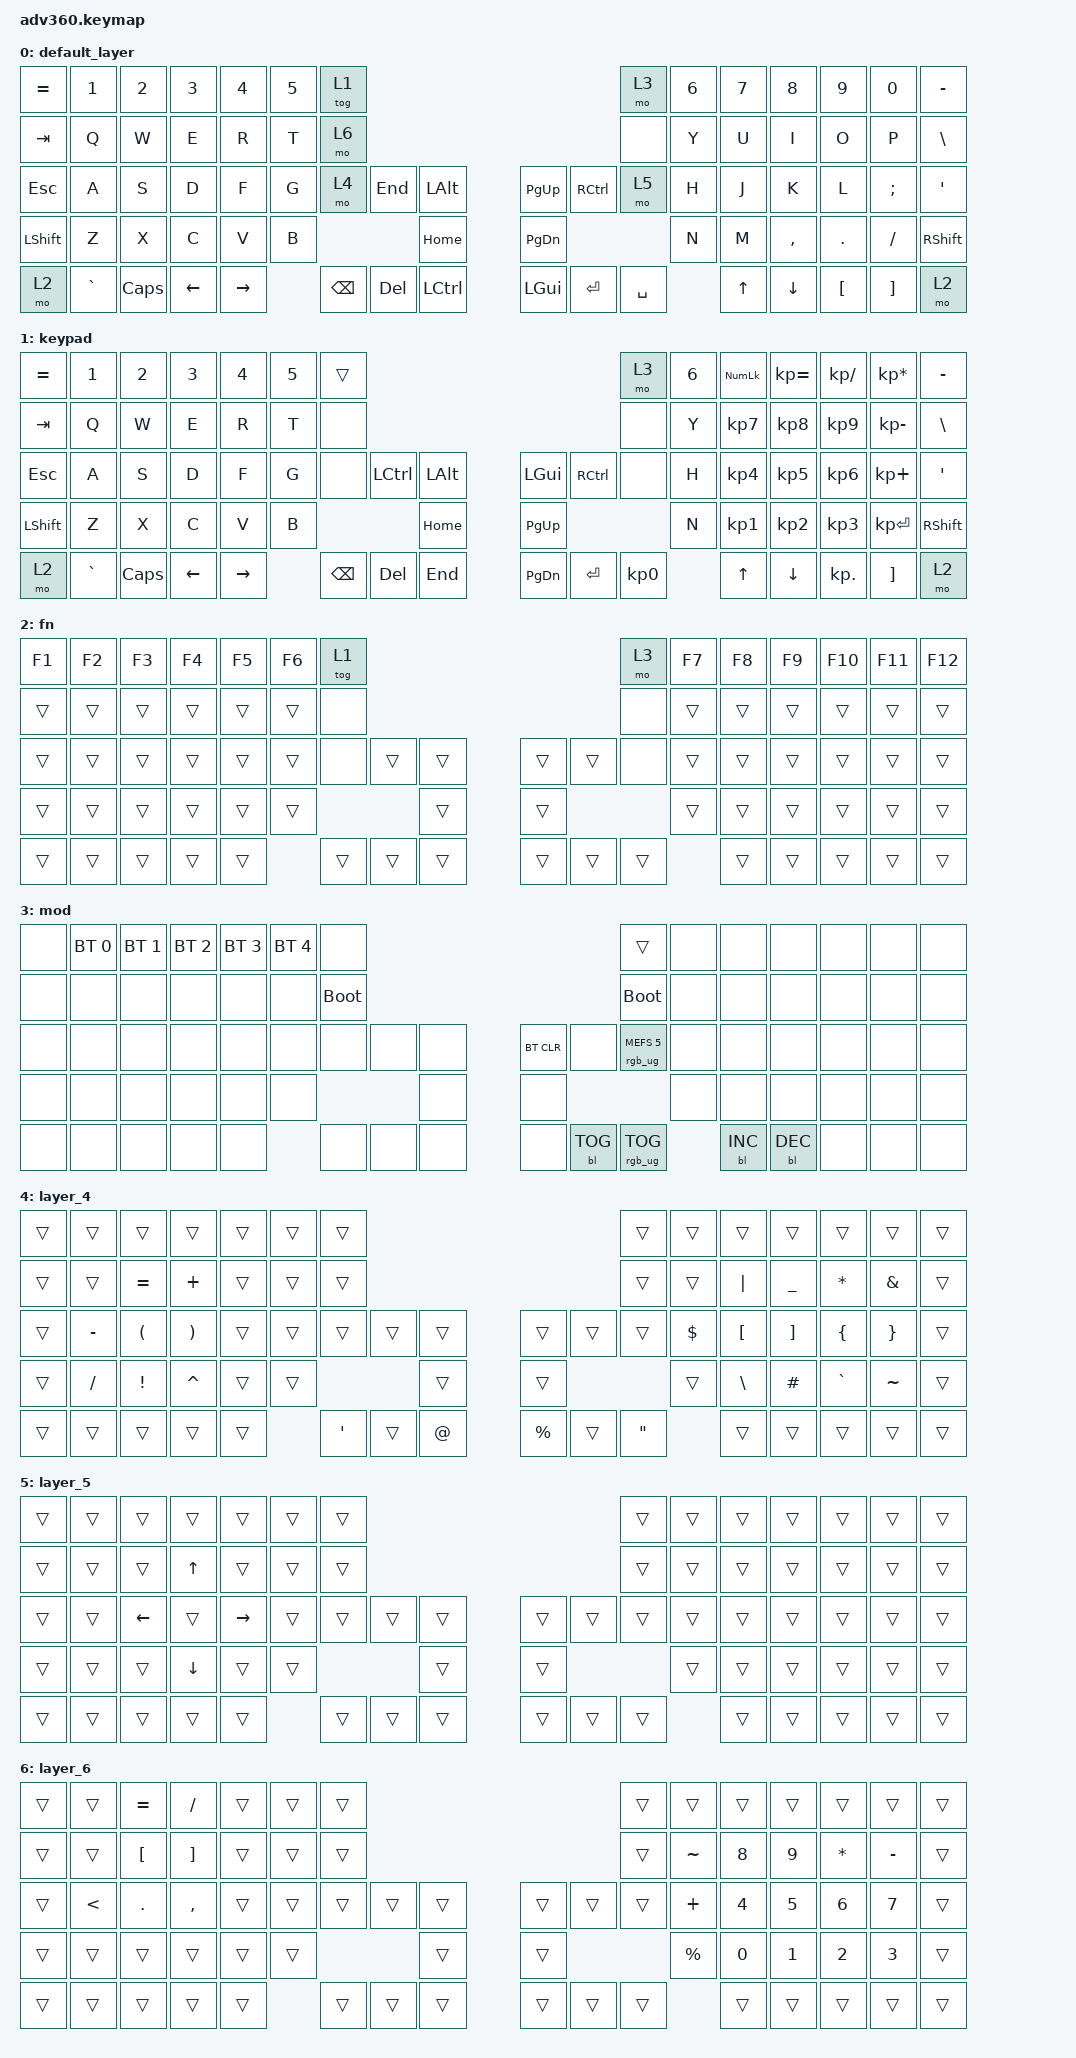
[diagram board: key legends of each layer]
#include <behaviors.dtsi>
#include <dt-bindings/zmk/backlight.h>
#include <dt-bindings/zmk/bt.h>
#include <dt-bindings/zmk/keys.h>
#include <dt-bindings/zmk/rgb.h>

/ {
    behaviors {
        #include "macros.dtsi"

        hm: homerow_mods {
            compatible = "zmk,behavior-hold-tap";
            label = "HOMEROW_MODS";
            #binding-cells = <2>;
            tapping-term-ms = <200>;
            quick_tap_ms = <175>;
            flavor = "tap-preferred";
            bindings = <&kp>, <&kp>;
        };
    };

    keymap {
        compatible = "zmk,keymap";

        default_layer {
            bindings = <
&kp EQUAL  &kp N1     &kp N2    &kp N3    &kp N4     &kp N5  &tog 1                                                             &mo 3      &kp N6  &kp N7  &kp N8     &kp N9    &kp N0    &kp MINUS
&kp TAB    &kp Q      &kp W     &kp E     &kp R      &kp T   &mo 6                                                              &none      &kp Y   &kp U   &kp I      &kp O     &kp P     &kp BSLH
&kp ESC    &kp A      &kp S     &kp D     &kp F      &kp G   &mo 4     &kp END  &kp LALT              &kp PAGE_UP    &kp RCTRL  &mo 5      &kp H   &kp J   &kp K      &kp L     &kp SEMI  &kp SQT
&kp LSHFT  &kp Z      &kp X     &kp C     &kp V      &kp B                      &kp HOME              &kp PAGE_DOWN                        &kp N   &kp M   &kp COMMA  &kp DOT   &kp FSLH  &kp RSHFT
&mo 2      &kp GRAVE  &kp CAPS  &kp LEFT  &kp RIGHT          &kp BSPC  &kp DEL  &kp LEFT_CONTROL      &kp LEFT_GUI   &kp ENTER  &kp SPACE          &kp UP  &kp DOWN   &kp LBKT  &kp RBKT  &mo 2
            >;
        };

        keypad {
            bindings = <
&kp EQUAL  &kp N1     &kp N2    &kp N3    &kp N4     &kp N5  &trans                                                   &mo 3      &kp N6  &kp KP_NUM  &kp KP_EQUAL  &kp KP_DIVIDE  &kp KP_MULTIPLY  &kp MINUS
&kp TAB    &kp Q      &kp W     &kp E     &kp R      &kp T   &none                                                    &none      &kp Y   &kp KP_N7   &kp KP_N8     &kp KP_N9      &kp KP_MINUS     &kp BSLH
&kp ESC    &kp A      &kp S     &kp D     &kp F      &kp G   &none     &kp LCTRL  &kp LALT      &kp LGUI   &kp RCTRL  &none      &kp H   &kp KP_N4   &kp KP_N5     &kp KP_N6      &kp KP_PLUS      &kp SQT
&kp LSHFT  &kp Z      &kp X     &kp C     &kp V      &kp B                        &kp HOME      &kp PG_UP                        &kp N   &kp KP_N1   &kp KP_N2     &kp KP_N3      &kp KP_ENTER     &kp RSHFT
&mo 2      &kp GRAVE  &kp CAPS  &kp LEFT  &kp RIGHT          &kp BSPC  &kp DEL    &kp END       &kp PG_DN  &kp ENTER  &kp KP_N0          &kp UP      &kp DOWN      &kp KP_DOT     &kp RBKT         &mo 2
            >;
        };

        fn {
            bindings = <
&kp F1  &kp F2  &kp F3  &kp F4  &kp F5  &kp F6  &tog 1                                      &mo 3   &kp F7  &kp F8  &kp F9  &kp F10  &kp F11  &kp F12
&trans  &trans  &trans  &trans  &trans  &trans  &none                                       &none   &trans  &trans  &trans  &trans   &trans   &trans
&trans  &trans  &trans  &trans  &trans  &trans  &none   &trans  &trans      &trans  &trans  &none   &trans  &trans  &trans  &trans   &trans   &trans
&trans  &trans  &trans  &trans  &trans  &trans                  &trans      &trans                  &trans  &trans  &trans  &trans   &trans   &trans
&trans  &trans  &trans  &trans  &trans          &trans  &trans  &trans      &trans  &trans  &trans          &trans  &trans  &trans   &trans   &trans
            >;
        };

        mod {
            bindings = <
&none  &bt BT_SEL 0  &bt BT_SEL 1  &bt BT_SEL 2  &bt BT_SEL 3  &bt BT_SEL 4  &none                                                  &trans                  &none  &none       &none       &none  &none  &none
&none  &none         &none         &none         &none         &none         &bootloader                                            &bootloader             &none  &none       &none       &none  &none  &none
&none  &none         &none         &none         &none         &none         &none        &none  &none      &bt BT_CLR  &none       &rgb_ug RGB_MEFS_CMD 5  &none  &none       &none       &none  &none  &none
&none  &none         &none         &none         &none         &none                             &none      &none                                           &none  &none       &none       &none  &none  &none
&none  &none         &none         &none         &none                       &none        &none  &none      &none       &bl BL_TOG  &rgb_ug RGB_TOG                &bl BL_INC  &bl BL_DEC  &none  &none  &none
            >;
        };

        layer_4 {
            bindings = <
&trans  &trans     &trans                &trans                 &trans  &trans  &trans                                                 &trans             &trans      &trans            &trans             &trans          &trans           &trans
&trans  &trans     &kp EQUAL             &kp PLUS               &trans  &trans  &trans                                                 &trans             &trans      &kp PIPE          &kp UNDERSCORE     &kp ASTERISK    &kp AMPERSAND    &trans
&trans  &kp MINUS  &kp LEFT_PARENTHESIS  &kp RIGHT_PARENTHESIS  &trans  &trans  &trans   &trans  &trans           &trans       &trans  &trans             &kp DOLLAR  &kp LEFT_BRACKET  &kp RIGHT_BRACKET  &kp LEFT_BRACE  &kp RIGHT_BRACE  &trans
&trans  &kp SLASH  &kp EXCLAMATION       &kp CARET              &trans  &trans                   &trans           &trans                                  &trans      &kp BACKSLASH     &kp HASH           &kp GRAVE       &kp TILDE        &trans
&trans  &trans     &trans                &trans                 &trans          &kp SQT  &trans  &kp AT_SIGN      &kp PERCENT  &trans  &kp DOUBLE_QUOTES              &trans            &trans             &trans          &trans           &trans
            >;
        };

        layer_5 {
            bindings = <
&trans  &trans  &trans          &trans          &trans           &trans  &trans                                      &trans  &trans  &trans  &trans  &trans  &trans  &trans
&trans  &trans  &trans          &kp UP_ARROW    &trans           &trans  &trans                                      &trans  &trans  &trans  &trans  &trans  &trans  &trans
&trans  &trans  &kp LEFT_ARROW  &trans          &kp RIGHT_ARROW  &trans  &trans  &trans  &trans      &trans  &trans  &trans  &trans  &trans  &trans  &trans  &trans  &trans
&trans  &trans  &trans          &kp DOWN_ARROW  &trans           &trans                  &trans      &trans                  &trans  &trans  &trans  &trans  &trans  &trans
&trans  &trans  &trans          &trans          &trans                   &trans  &trans  &trans      &trans  &trans  &trans          &trans  &trans  &trans  &trans  &trans
            >;
        };

        layer_6 {
            bindings = <
&trans  &trans         &kp EQUAL         &kp SLASH          &trans  &trans  &trans                                      &trans  &trans       &trans        &trans        &trans        &trans        &trans
&trans  &trans         &kp LEFT_BRACKET  &kp RIGHT_BRACKET  &trans  &trans  &trans                                      &trans  &kp TILDE    &kp N8        &kp NUMBER_9  &kp ASTERISK  &kp MINUS     &trans
&trans  &kp LESS_THAN  &kp PERIOD        &kp COMMA          &trans  &trans  &trans  &trans  &trans      &trans  &trans  &trans  &kp PLUS     &kp NUMBER_4  &kp N5        &kp NUMBER_6  &kp N7        &trans
&trans  &trans         &trans            &trans             &trans  &trans                  &trans      &trans                  &kp PERCENT  &kp N0        &kp NUMBER_1  &kp NUMBER_2  &kp NUMBER_3  &trans
&trans  &trans         &trans            &trans             &trans          &trans  &trans  &trans      &trans  &trans  &trans               &trans        &trans        &trans        &trans        &trans
            >;
        };
    };
};
